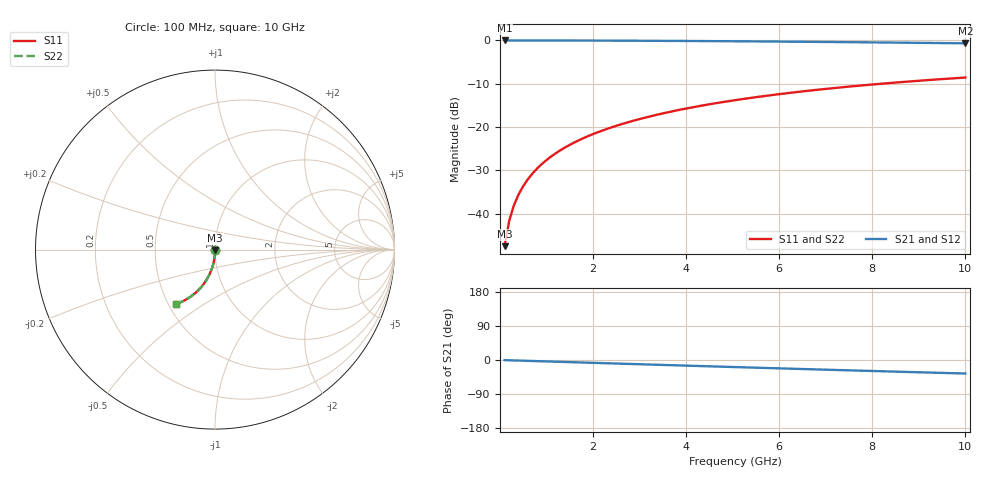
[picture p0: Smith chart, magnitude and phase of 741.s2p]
# Hz S RI R 50.00
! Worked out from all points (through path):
!   100 points, 100 MHz to 10 GHz, reference 50 ohm
!   highest |S21| = -0.01 dB at 100 MHz (marker M1); lowest = -0.7 dB at 10 GHz (marker M2)
!   group delay of S21, straight-line fit = 9.94 ps
!   lowest |S11| = -47.5 dB at 100 MHz (marker M3), VSWR 1.01, Z = 50.1 - j0.418 ohm
!   |S11| at or under -10 dB: start of sweep to 8.188 GHz
!   |S22| runs from -47.5 to -8.6 dB; largest |S21 - S12| = 0
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1e8  0.000659 -0.00417  0.9993 -0.00652  0.9993 -0.00652  0.000659 -0.00417
2e8  0.000577 -0.00834  0.9992 -0.013  0.9992 -0.013  0.000577 -0.00834
3e8  0.000439 -0.0125  0.999 -0.0195  0.999 -0.0195  0.000439 -0.0125
4e8  0.000246 -0.0167  0.9988 -0.0261  0.9988 -0.0261  0.000246 -0.0167
5e8  -8.72e-07 -0.0208  0.9985 -0.0326  0.9985 -0.0326  -8.72e-07 -0.0208
6e8  -0.000303 -0.025  0.9982 -0.0391  0.9982 -0.0391  -0.000303 -0.025
7e8  -0.000659 -0.0292  0.9978 -0.0456  0.9978 -0.0456  -0.000659 -0.0292
8e8  -0.00107 -0.0333  0.9973 -0.0521  0.9973 -0.0521  -0.00107 -0.0333
9e8  -0.00153 -0.0375  0.9968 -0.0586  0.9968 -0.0586  -0.00153 -0.0375
1.1e9  -0.00262 -0.0457  0.9956 -0.0715  0.9956 -0.0715  -0.00262 -0.0457
1.4e9  -0.00466 -0.058  0.9934 -0.0909  0.9934 -0.0909  -0.00466 -0.058
1.8e9  -0.00811 -0.0743  0.9895 -0.1165  0.9895 -0.1165  -0.00811 -0.0743
2.1e9  -0.0113 -0.0864  0.9861 -0.1356  0.9861 -0.1356  -0.0113 -0.0864
2.5e9  -0.0161 -0.1022  0.9807 -0.1609  0.9807 -0.1609  -0.0161 -0.1022
2.9e9  -0.0218 -0.1177  0.9744 -0.1858  0.9744 -0.1858  -0.0218 -0.1177
3.4e9  -0.03 -0.1366  0.9653 -0.2164  0.9653 -0.2164  -0.03 -0.1366
4.2e9  -0.0455 -0.1654  0.9481 -0.2641  0.9481 -0.2641  -0.0455 -0.1654
5.1e9  -0.0661 -0.1954  0.9252 -0.3154  0.9252 -0.3154  -0.0661 -0.1954
5.9e9  -0.0868 -0.2197  0.9019 -0.3586  0.9019 -0.3586  -0.0868 -0.2197
6.7e9  -0.1096 -0.2415  0.8763 -0.3995  0.8763 -0.3995  -0.1096 -0.2415
8.4e9  -0.163 -0.2791  0.8154 -0.4777  0.8154 -0.4777  -0.163 -0.2791
1e10  -0.2172 -0.3031  0.7525 -0.5404  0.7525 -0.5404  -0.2172 -0.3031
